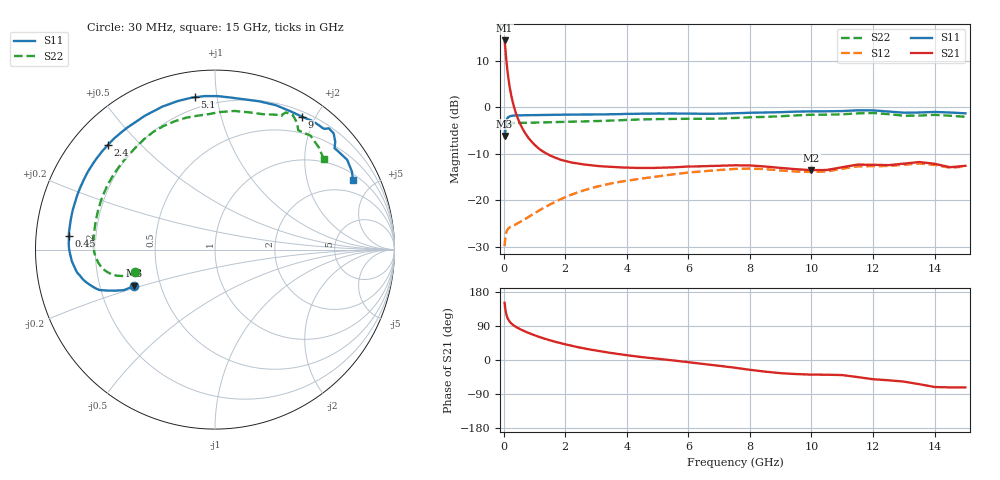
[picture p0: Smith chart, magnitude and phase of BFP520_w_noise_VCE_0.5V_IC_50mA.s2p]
! Infineon Technologies  Discrete & RF Semiconductors
! BFP520
! VCE =  0.5 V,  IC =  50 mA
! Common Emitter S-Parameters:  Oct 2015
# GHz  S  MA  R  50
!  f  S11  S21  S12  S22
! GHz  MAG  ANG  MAG  ANG  MAG  ANG  MAG  ANG
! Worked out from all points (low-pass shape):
!   109 points, 30 MHz to 15 GHz, reference 50 ohm
!   highest |S21| = 14.35 dB at 30 MHz (marker M1); lowest = -13.5 dB at 10 GHz (marker M2)
!   |S21| within 3 dB of the highest: start of sweep to 69.61 MHz
!   lowest |S11| = -6.2 dB at 30 MHz (marker M3), VSWR 2.94, Z = 17.7 - j9.43 ohm
!   |S11| at or under -10 dB: nowhere
!   |S22| runs from -6.7 to -1.2 dB; largest |S21 - S12| = 5.2
!   S11 on the Smith chart (normalised r, x): 30 MHz: 0.35, -0.19; 450 MHz: 0.10, +0.04; 2.4 GHz: 0.11, +0.40; 5.1 GHz: 0.14, +0.87; 9 GHz: 0.27, +1.82; 15 GHz: 1.27, +3.80
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0.03  0.492 -155.8  5.217 151.0  0.0322 23.2  0.4629 -164.5
0.04  0.5561 -156.0  4.809 143.5  0.0358 24.0  0.5026 -163.9
0.05  0.6028 -157.7  4.407 137.3  0.0389 23.3  0.5373 -164.1
0.07  0.6836 -160.8  3.68 126.9  0.0433 21.6  0.5874 -166.3
0.09  0.7248 -164.3  3.109 119.4  0.0458 19.8  0.617 -168.6
0.11  0.7526 -167.1  2.693 114.0  0.0476 18.4  0.6357 -170.7
0.13  0.7703 -169.6  2.34 110.0  0.0489 17.6  0.6483 -172.5
0.2  0.7998 -175.2  1.609 100.6  0.0513 16.4  0.6681 -176.9
0.25  0.807 -178.0  1.319 96.3  0.0524 16.9  0.6734 -179.0
0.35  0.8151 178.0  0.968 89.9  0.0544 18.5  0.6777 177.8
0.45  0.8178 174.8  0.773 85.0  0.0566 20.6  0.6785 175.3
0.7  0.8206 168.4  0.525 75.2  0.0631 25.5  0.6804 170.2
1  0.8227 161.9  0.396 65.4  0.0725 29.3  0.6834 165.1
2.4  0.8345 135.6  0.249 34.0  0.1216 27.4  0.7024 143.8
2.6  0.8364 132.1  0.243 30.8  0.1279 25.8  0.7047 140.7
5.1  0.8562 97.6  0.224 2.4  0.1825 4.2  0.7462 111.5
7.6  0.8637 72.0  0.238 -21.4  0.2177 -19.8  0.769 86.7
9  0.8853 56.7  0.223 -34.8  0.2094 -33.7  0.8 70.6
10  0.9028 50.2  0.211 -38.6  0.2013 -37.3  0.8307 64.6
10.5  0.9048 48.3  0.212 -38.8  0.2049 -37.5  0.8325 63.5
13  0.8736 40.3  0.248 -57.0  0.2412 -56.8  0.811 55.1
15  0.8604 26.8  0.235 -72.2  0.2304 -72.3  0.7896 40.0
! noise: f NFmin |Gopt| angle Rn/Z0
0.45  3.26  0.19  -159  0.29
0.9  3.26  0.21  -151  0.32
1.9  3.39  0.27  -127  0.39
2.4  3.38  0.28  -123  0.37
3.5  3.38  0.27  -109  0.45
